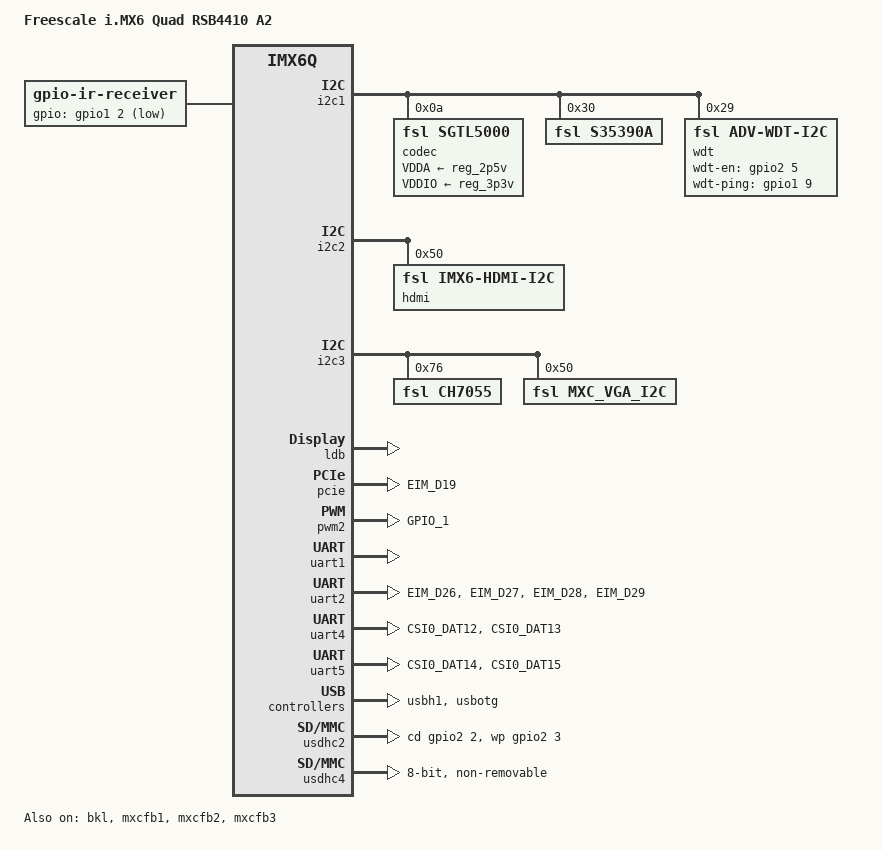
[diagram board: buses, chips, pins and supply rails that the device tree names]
/*
 * Copyright 2012 Freescale Semiconductor, Inc.
 * Copyright 2011 Linaro Ltd.
 *
 * The code contained herein is licensed under the GNU General Public
 * License. You may obtain a copy of the GNU General Public License
 * Version 2 or later at the following locations:
 *
 * http://www.opensource.org/licenses/gpl-license.html
 * http://www.gnu.org/copyleft/gpl.html
 */

/dts-v1/;

#include "imx6q.dtsi"
#include "imx6qdl-advantech.dtsi"

/ {
	model = "Freescale i.MX6 Quad RSB4410 A2";
	compatible = "fsl,imx6q-sabresd", "fsl,imx6q";

	board {
		compatible = "proc-board";
		board-type = "RSB-4410 A2";
		board-cpu = "DualQuad";
	};

	ir {
		//compatible = "fsl,lirc_rpi";
		compatible = "gpio-ir-receiver";
		pinctrl-0 = <&pinctrl_ir_1>;
		gpios=<&gpio1 2 1>;
		linux,rc-map-name = "rc-rc6-mce";
	};
};

&audio_sgtl5000 {
	audio-codec = <&codec>;
};

&bkl {
	lvds-bkl-enable = <&gpio4 6 1>;
	lvds-vcc-enable = <&gpio4 7 1>;
	pwms = <&pwm2 0 5000000>;
	status = "okay";
};

&i2c1 {

	codec: sgtl5000@0a {
		compatible = "fsl,sgtl5000";
		reg = <0x0a>;
		clocks = <&clks 201>;
		VDDA-supply = <&reg_2p5v>;
		VDDIO-supply = <&reg_3p3v>;
		mclk = <16000000>;
		mclk_source = <0>;
	};

	s35390a@30 {
		compatible = "fsl,s35390a";
		reg = <0x30>;
	};

	wdt@29 {
		compatible = "fsl,adv-wdt-i2c";
		pinctrl-names = "default";
		pinctrl-0 = <&pinctrl_wdt_en_1 &pinctrl_wdt_ping_1>;
		status = "okay";
		wdt-en = <&gpio2 5 0>;
		wdt-ping = <&gpio1 9 0>;
		reg = <0x29>;
	};
};

&i2c2 {

	hdmi: edid@50 {
		compatible = "fsl,imx6-hdmi-i2c";
		reg = <0x50>;
	};
};

&i2c3 {

	ch7055@76 {
		compatible = "fsl,ch7055";
		reg = <0x76>;
	};

	mxc_vga_i2c@50 {
		compatible = "fsl,mxc_vga_i2c";
		reg = <0x50>;
	};
};

&iomuxc {
	pinctrl-names = "default";
	pinctrl-0 = <&pinctrl_hog_1 &pinctrl_hog_2>;

	hog {
		pinctrl_hog_2: hoggrp-2 {
			fsl,pins = <
				MX6QDL_PAD_EIM_D20__GPIO3_IO20 		0x80000000	/* 3G_DET# */
				MX6QDL_PAD_EIM_D24__GPIO3_IO24 		0x80000000	/* ALL_SYS_PG */
				MX6QDL_PAD_EIM_D25__GPIO3_IO25 		0x80000000	/* PLTRST# */
				MX6QDL_PAD_SD1_CMD__GPIO1_IO18		0x80000000	/* GPIO1 */
				MX6QDL_PAD_SD1_CLK__GPIO1_IO20		0x80000000	/* GPIO2 */
				MX6QDL_PAD_SD1_DAT0__GPIO1_IO16		0x80000000	/* GPIO3 */
				MX6QDL_PAD_SD1_DAT1__GPIO1_IO17		0x80000000	/* GPIO4 */
				MX6QDL_PAD_SD3_CMD__GPIO7_IO02		0x80000000	/* GPIO5 */
				MX6QDL_PAD_SD3_CLK__GPIO7_IO03		0x80000000	/* GPIO6 */
				MX6QDL_PAD_SD3_DAT0__GPIO7_IO04		0x80000000	/* GPIO7 */
				MX6QDL_PAD_SD3_DAT1__GPIO7_IO05		0x80000000	/* GPIO8 */
			>;
		};
	};

	ir {
		pinctrl_ir_1: irgrp-1 {
			fsl,pins = <
				MX6QDL_PAD_GPIO_2__GPIO1_IO02		0x80000000	/* GPIO IR-IN */
			>;
		};
	};

	pcie {
		pinctrl_pcie_1: pciegrp-1 {
			fsl,pins = <
				MX6QDL_PAD_EIM_D19__GPIO3_IO19		0x80000000	/* PCIE_DIS_B */
			>;
		};
	};

	pwm {
		pinctrl_pwm2_1: pwm2grp-1 {
			fsl,pins = <
				MX6QDL_PAD_GPIO_1__PWM2_OUT			0x1b0b1
			>;
		};
	};

	spi1 {
		pinctrl_ecspi1_cs_0: ecspi1_cs_grp-0 {
			fsl,pins = <
				MX6QDL_PAD_EIM_EB2__GPIO2_IO30		0x80000000	/* ECSPI1_CS0 */
			>;
		};
	};

	uart2 {
		pinctrl_uart2_3: uart2grp-3 { /* DCE mode */
			fsl,pins = <
				MX6QDL_PAD_EIM_D26__UART2_TX_DATA	0x1b0b1
				MX6QDL_PAD_EIM_D27__UART2_RX_DATA	0x1b0b1
				MX6QDL_PAD_EIM_D28__UART2_CTS_B		0x1b0b1
				MX6QDL_PAD_EIM_D29__UART2_RTS_B		0x1b0b1
			>;
		};
	};

	uart4 {
		pinctrl_uart4_1: uart4grp-1 {
			fsl,pins = <
				MX6QDL_PAD_CSI0_DAT12__UART4_TX_DATA	0x1b0b1
				MX6QDL_PAD_CSI0_DAT13__UART4_RX_DATA	0x1b0b1
			>;
		};
	};

	uart5 {
		pinctrl_uart5_1: uart5grp-1 {
			fsl,pins = <
				MX6QDL_PAD_CSI0_DAT14__UART5_TX_DATA	0x1b0b1
				MX6QDL_PAD_CSI0_DAT15__UART5_RX_DATA	0x1b0b1
			>;
		};
	};

	wdt{
		pinctrl_wdt_en_1: wdt_engrp-1 {
			fsl,pins = <
				MX6QDL_PAD_NANDF_D5__GPIO2_IO05		0x80000000
			>;
		};
		pinctrl_wdt_ping_1: wdt_pinggrp-1 {
			fsl,pins = <
				MX6QDL_PAD_GPIO_9__GPIO1_IO09		0x80000000
			>;
		};
	};
};

&ldb {
	status = "okay";
};

&mxcfb1 {
	status = "okay";
};

&mxcfb2 {
	status = "okay";
};

&mxcfb3 {
	status = "okay";
};

&pcie {
	pinctrl-names = "default";
	pinctrl-0 = <&pinctrl_pcie_1>;
	disable-gpio = <&gpio3 19 0>;
	status = "okay";
};

&pwm2 {
	pinctrl-names = "default";
	pinctrl-0 = <&pinctrl_pwm2_1>;
	status = "okay";
};

&uart1 {
	pinctrl-names = "default";
	pinctrl-0 = <&pinctrl_uart1_1>;
	status = "okay";
};

&uart2 {
	pinctrl-names = "default";
	pinctrl-0 = <&pinctrl_uart2_3>;
	status = "okay";
};

&uart4 {
	pinctrl-names = "default";
	pinctrl-0 = <&pinctrl_uart4_1>;
	status = "okay";
};

&uart5 {
	pinctrl-names = "default";
	pinctrl-0 = <&pinctrl_uart5_1>;
	status = "okay";
};

&usbh1 {
	status = "okay";
};

&usbotg {
	pinctrl-names = "default";
	pinctrl-0 = <&pinctrl_usbotg_2>;
	disable-over-current;
	status = "okay";
};

&usdhc2 {
	pinctrl-names = "default";
	pinctrl-0 = <&pinctrl_usdhc2_2>;
	cd-gpios = <&gpio2 2 0>;
	wp-gpios = <&gpio2 3 0>;
	no-1-8-v;
	keep-power-in-suspend;
	enable-sdio-wakeup;
	status = "okay";
};

&usdhc4 {
	pinctrl-names = "default";
	pinctrl-0 = <&pinctrl_usdhc4_1>;
	bus-width = <8>;
	non-removable;
	no-1-8-v;
	keep-power-in-suspend;
	status = "okay";
};

&wdog1 {
	status = "disabled";
}
